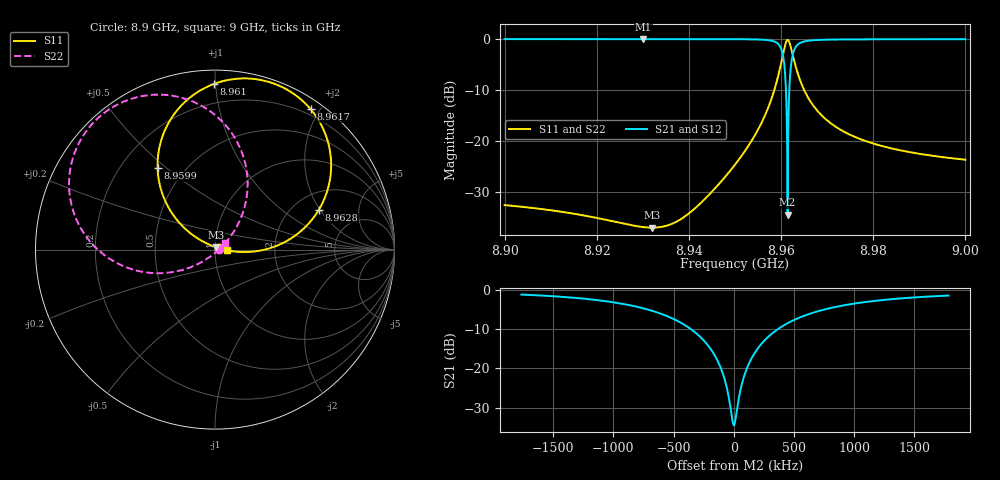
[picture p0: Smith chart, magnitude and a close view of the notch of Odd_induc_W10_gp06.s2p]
! Sonnet Data File
! From: emgraph Version : 16.52
! From Project: Resonator2_cp_varyW
! Data is De-embedded
! Data File Written: 10/09/2017 13:24:45
!< HDATE 10/09/2017 09:18:07
!< MDATE 10/09/2017 09:18:07
!< PARAMS
!< Length = 400.0
!< Pwid1 = 2000.0
!< Pwid2 = 2000.0
!< Air_gap = 6.0
!< Width = 10.0
!< gap = 6.0
!< END PARAMS
# GHZ S MA R 35.98000
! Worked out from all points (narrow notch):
!   1596 points, 8.9 GHz to 9 GHz, reference 35.98 ohm
!   highest |S21| = 0.00 dB at 8.9301 GHz (marker M1); lowest = -34.4 dB at 8.9614 GHz (marker M2)
!   notch at M2: 34.4 dB deep, 299 kHz wide at half that depth
!   lowest |S11| = -37.0 dB at 8.932 GHz (marker M3), VSWR 1.03, Z = 36.3 + j0.973 ohm
!   |S11| at or under -10 dB: start of sweep to 8.9585 GHz; 8.965014 GHz to end of sweep
!   |S22| runs from -37.0 to -0.2 dB; largest |S21 - S12| = 0
!   S11 on the Smith chart (normalised r, x): 8.9 GHz: 1.05, +0.02; 8.9599 GHz: 0.35, +0.47; 8.961 GHz: 0.08, +0.99; 8.9617 GHz: 0.13, +1.89; 8.9628 GHz: 2.72, +1.95; 9 GHz: 1.14, -0.01
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8.9  0.0236 19.4  0.9997 -77.5  0.9997 -77.5  0.02359 5.7
!< P1 F=8.9 Eeff=(5.36982967 -2.3752e-5) Z0=(35.9777542 8.05608e-5) R=0.0 C=0.0
!< P2 F=8.9 Eeff=(5.36982967 -2.3752e-5) Z0=(35.9777542 8.05608e-5) R=0.0 C=0.0
8.9167  0.01886 30.7  0.9998 -78.0  0.9998 -78.0  0.01885 -6.6
8.9301  0.01437 62.2  0.9999 -78.7  0.9999 -78.7  0.01432 -39.5
8.932  0.01419 70.8  0.9999 -78.8  0.9999 -78.8  0.01413 -48.5
8.9334  0.0143 78.0  0.9999 -79.0  0.9999 -79.0  0.01424 -55.9
8.9404  0.02023 115.6  0.9997 -79.8  0.9997 -79.8  0.02016 -95.3
8.95  0.05877 143.6  0.9981 -82.3  0.9981 -82.3  0.05869 -128.5
8.957088  0.2061 144.9  0.9774 -90.9  0.9774 -90.9  0.206 -147.4
8.959918  0.5568 125.1  0.8227 -112.9  0.8227 -112.9  0.5565 -172.6
8.960499  0.74 111.2  0.6559 -126.8  0.6559 -126.8  0.7395 172.6
8.961028  0.9224 90.5  0.3403 -146.2  0.3403 -146.2  0.9219 151.0
8.961278  0.9732 78.1  0.1281 -153.3  0.1281 -153.3  0.9727 138.3
8.961416  0.9813 70.9  0.01897 -80.4  0.01897 -80.4  0.9808 130.9
8.961549  0.9743 64.1  0.1217 -4.8  0.1217 -4.8  0.9738 123.9
8.96172  0.9464 55.7  0.2664 -8.4  0.2664 -8.4  0.9459 115.2
8.962106  0.835 39.6  0.5267 -22.6  0.5267 -22.6  0.8346 98.6
8.962822  0.6191 20.9  0.7768 -40.9  0.7768 -40.9  0.6188 78.9
8.964202  0.3867 5.9  0.9196 -56.4  0.9196 -56.4  0.3865 62.0
8.9667  0.2325 -2.1  0.9718 -65.7  0.9718 -65.7  0.2324 51.0
8.9731  0.1277 -5.5  0.9916 -71.9  0.9916 -71.9  0.1277 41.8
8.9834  0.08606 -4.9  0.9962 -74.4  0.9962 -74.4  0.08605 36.1
9  0.06576 -3.3  0.9978 -75.8  0.9978 -75.8  0.06576 31.8
